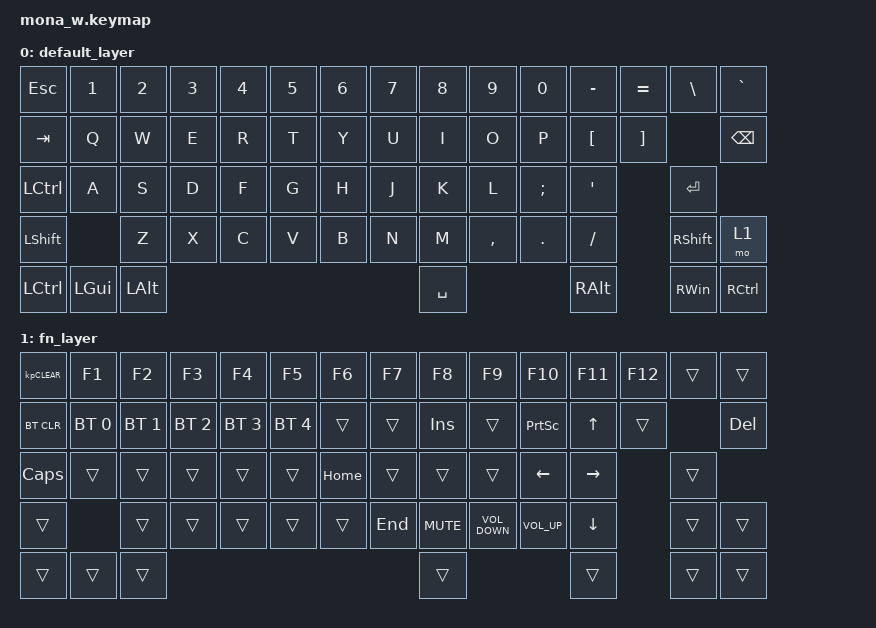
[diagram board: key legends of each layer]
/*
 * Copyright (c) 2023 Ramon Imbao
 *
 * SPDX-License-Identifier: MIT
 */

#include <behaviors.dtsi>
#include <dt-bindings/zmk/bt.h>
#include <dt-bindings/zmk/keys.h>

/ {
    keymap {
        compatible = "zmk,keymap";

        default_layer {
            bindings = <
&kp ESC    &kp N1    &kp N2    &kp N3  &kp N4  &kp N5  &kp N6  &kp N7  &kp N8     &kp N9     &kp N0    &kp MINUS  &kp EQUAL  &kp BACKSLASH  &kp GRAVE
&kp TAB    &kp Q     &kp W     &kp E   &kp R   &kp T   &kp Y   &kp U   &kp I      &kp O      &kp P     &kp LBKT   &kp RBKT                  &kp BACKSPACE
&kp LCTRL  &kp A     &kp S     &kp D   &kp F   &kp G   &kp H   &kp J   &kp K      &kp L      &kp SEMI  &kp APOS              &kp ENTER
&kp LSHFT            &kp Z     &kp X   &kp C   &kp V   &kp B   &kp N   &kp M      &kp COMMA  &kp DOT   &kp SLASH             &kp RSHFT      &mo 1
&kp LCTRL  &kp LGUI  &kp LALT                                          &kp SPACE                       &kp RALT              &kp RWIN       &kp RCTRL
            >;
        };

        fn_layer {
            bindings = <
&kp KP_CLEAR  &kp F1        &kp F2        &kp F3        &kp F4        &kp F5        &kp F6    &kp F7   &kp F8      &kp F9             &kp F10          &kp F11    &kp F12  &trans  &trans
&bt BT_CLR    &bt BT_SEL 0  &bt BT_SEL 1  &bt BT_SEL 2  &bt BT_SEL 3  &bt BT_SEL 4  &trans    &trans   &kp INSERT  &trans             &kp PRINTSCREEN  &kp UP     &trans           &kp DELETE
&kp CAPSLOCK  &trans        &trans        &trans        &trans        &trans        &kp HOME  &trans   &trans      &trans             &kp LEFT         &kp RIGHT           &trans
&trans                      &trans        &trans        &trans        &trans        &trans    &kp END  &kp K_MUTE  &kp C_VOLUME_DOWN  &kp C_VOLUME_UP  &kp DOWN            &trans  &trans
&trans        &trans        &trans                                                                     &trans                                          &trans              &trans  &trans
            >;
        };
    };
};
